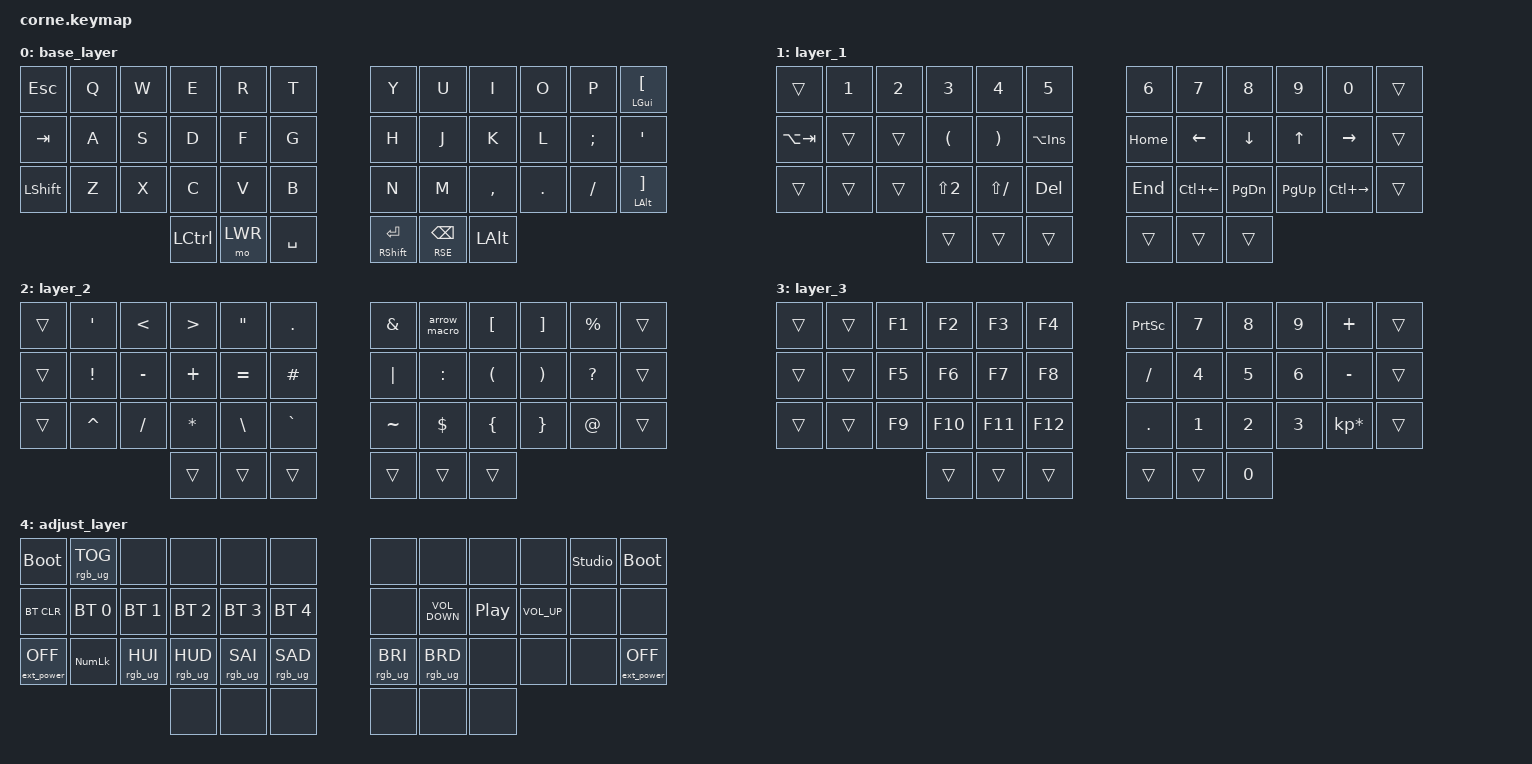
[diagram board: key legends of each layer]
/*
 * Copyright (c) 2020 The ZMK Contributors
 *
 * SPDX-License-Identifier: MIT
 */

#include <behaviors.dtsi>
#include <dt-bindings/zmk/keys.h>
#include <dt-bindings/zmk/bt.h>
#include <dt-bindings/zmk/ext_power.h>
#include <dt-bindings/zmk/rgb.h>

#define DEF 0
#define LWR 1
#define RSE 2
#define FUN 3
#define ADJ 4

#define QUEST 0x003F

&lt {
    quick_tap_ms = <120>;
};

&mt {
    quick_tap_ms = <120>;
};

&led_strip {
    chain-length = <27>;
};

/ {
    conditional_layers {
        compatible = "zmk,conditional-layers";
        tri_layer {
            if-layers = <LWR RSE>;
            then-layer = <FUN>;
        };
    };
};

/ {
    combos {
        compatible = "zmk,combos";
        combo_esc {
            timeout-ms = <30>;
            key-positions = <37 38>;
            bindings = <&mo ADJ>;
        };

        combo_dash {
            timeout-ms = <20>; // Adjust if needed
            key-positions = <19 20>; // J + K
            bindings = <&kp MINUS>;
        };

        combo_question {
            timeout-ms = <20>; // Adjust if needed
            key-positions = <18 19>; // H + J
            bindings = <&kp QMARK>;
        };
    };
};

/ {
    macros {
        arrow_macro: arrow_macro {
            compatible = "zmk,behavior-macro";
            #binding-cells = <0>;
            wait-ms = <0>;
            tap-ms = <10>;  // Small delay between characters
            bindings = <&kp EQUAL &kp GT>;  // Types "=" then ">"
        };
    };
};

/ {
    keymap {
        compatible = "zmk,keymap";

        base_layer {
            bindings = <
                        &kp ESC     &kp Q       &kp W       &kp E       &kp R       &kp T       &kp Y       &kp U       &kp I       &kp O       &kp P       &mt LGUI LBKT
                        &kp TAB     &kp A       &kp S       &kp D       &kp F       &kp G       &kp H       &kp J       &kp K       &kp L       &kp SEMI    &kp SQT
                        &kp LSHIFT  &kp Z       &kp X       &kp C       &kp V       &kp B       &kp N       &kp M       &kp COMMA   &kp DOT     &kp FSLH    &mt LALT RBKT
                                                                &kp LCTRL   &mo LWR  &kp SPACE &mt RSHIFT ENTER &lt RSE BSPC &kp LALT
            >;
        };

        layer_1 {
            bindings = <
                        &trans      &kp N1      &kp N2      &kp N3      &kp N4          &kp N5      &kp N6      &kp N7       &kp N8      &kp N9      &kp N0         &trans
                        &kp LA(TAB) &trans      &trans      &kp LPAR    &kp RPAR        &kp LA(INS) &kp HOME    &kp LEFT     &kp DOWN    &kp UP      &kp RIGHT      &trans
                        &trans      &trans      &trans      &kp LS(N2)  &kp LS(FSLH)    &kp DEL     &kp END     &kp LC(LEFT) &kp PG_DN   &kp PG_UP   &kp LC(RIGHT)  &trans
                                                                &trans      &trans      &trans      &trans      &trans         &trans
            >;
        };

        layer_2 {
            bindings = <
                        &trans      &kp APOS    &kp LT      &kp GT       &kp DQT    &kp DOT     &kp AMPERSAND &arrow_macro &kp LBKT    &kp RBKT    &kp PERCENT &trans
                        &trans      &kp EXCL    &kp MINUS   &kp PLUS     &kp EQUAL  &kp HASH    &kp PIPE      &kp COLON    &kp LPAR    &kp RPAR    &kp QMARK   &trans
                        &trans      &kp CARET   &kp SLASH   &kp ASTRK    &kp BSLH   &kp GRAVE   &kp TILDE     &kp DOLLAR   &kp LBRC    &kp RBRC    &kp AT_SIGN &trans
                                                                &trans      &trans      &trans      &trans      &trans         &trans
            >;
        };

        layer_3 {
            bindings = <
                        &trans      &trans      &kp F1      &kp F2      &kp F3      &kp F4      &kp PSCRN   &kp N7      &kp N8      &kp N9     &kp PLUS          &trans
                        &trans      &trans      &kp F5      &kp F6      &kp F7      &kp F8      &kp SLASH   &kp N4      &kp N5      &kp N6     &kp MINUS         &trans
                        &trans      &trans      &kp F9      &kp F10     &kp F11     &kp F12     &kp DOT     &kp N1      &kp N2      &kp N3     &kp KP_MULTIPLY   &trans
                                                                &trans      &trans      &trans      &trans      &trans         &kp N0
            >;
        };

        adjust_layer {
            bindings = <
                        &bootloader           &rgb_ug RGB_TOG            &none        &none        &none        &none        &none        &none        &none        &none        &studio_unlock  &bootloader
                        &bt BT_CLR            &bt BT_SEL 0    &bt BT_SEL 1 &bt BT_SEL 2 &bt BT_SEL 3 &bt BT_SEL 4 &none        &kp C_VOLUME_DOWN &kp C_PLAY_PAUSE &kp C_VOLUME_UP &none           &none
                        &ext_power EP_OFF     &kp KP_NUM      &rgb_ug RGB_HUI        &rgb_ug RGB_HUD        &rgb_ug RGB_SAI        &rgb_ug RGB_SAD        &rgb_ug RGB_BRI        &rgb_ug RGB_BRD        &none        &none        &none           &ext_power EP_OFF
                                                                &none       &none           &none        &none        &none        &none
            >;
        };
    };
};
